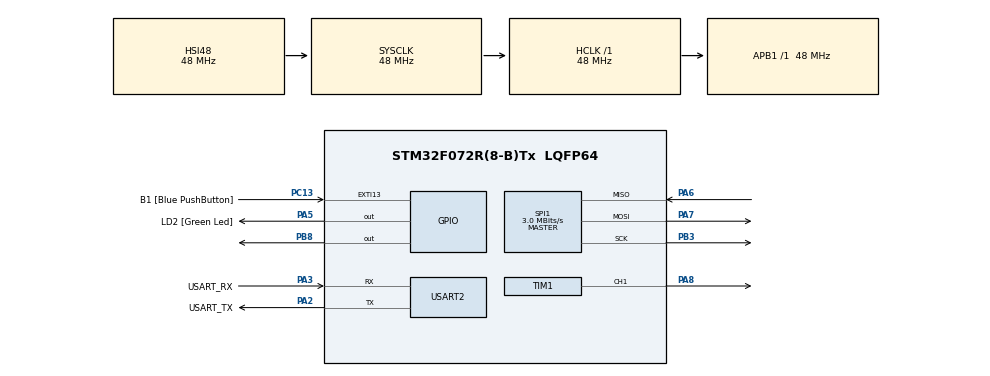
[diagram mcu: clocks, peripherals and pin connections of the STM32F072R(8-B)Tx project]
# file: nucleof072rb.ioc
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Mcu.Family=STM32F0
Mcu.Name=STM32F072R(8-B)Tx
Mcu.Package=LQFP64
PA13.GPIO_Label=TMS
PA13.Mode=Serial_Wire
PA13.Signal=SYS_SWDIO
PA14.GPIO_Label=TCK
PA14.Mode=Serial_Wire
PA14.Signal=SYS_SWCLK
PA2.GPIO_Label=USART_TX
PA2.GPIO_Mode=GPIO_MODE_AF_PP
PA2.GPIO_PuPd=GPIO_NOPULL
PA2.GPIO_Speed=GPIO_SPEED_FREQ_LOW
PA2.Mode=Asynchronous
PA2.Signal=USART2_TX
PA3.GPIO_Label=USART_RX
PA3.GPIO_Mode=GPIO_MODE_AF_PP
PA3.GPIO_PuPd=GPIO_NOPULL
PA3.GPIO_Speed=GPIO_SPEED_FREQ_LOW
PA3.Mode=Asynchronous
PA3.Signal=USART2_RX
PA5.GPIO_Label=LD2 [Green Led]
PA5.GPIO_Mode=GPIO_MODE_OUTPUT_PP
PA5.GPIO_PuPd=GPIO_NOPULL
PA5.GPIO_Speed=GPIO_SPEED_FREQ_LOW
PA5.Signal=GPIO_Output
PA6.Mode=Full_Duplex_Master
PA6.Signal=SPI1_MISO
PA7.Mode=Full_Duplex_Master
PA7.Signal=SPI1_MOSI
PA8.Signal=S_TIM1_CH1
PB3.Mode=Full_Duplex_Master
PB3.Signal=SPI1_SCK
PB8.Signal=GPIO_Output
PC13.GPIO_Label=B1 [Blue PushButton]
PC13.GPIO_ModeDefaultEXTI=GPIO_MODE_IT_FALLING
PC13.Signal=GPXTI13
PC14-OSC32_IN.Mode=LSE-External-Oscillator
PC14-OSC32_IN.Signal=RCC_OSC32_IN
PC15-OSC32_OUT.Mode=LSE-External-Oscillator
PC15-OSC32_OUT.Signal=RCC_OSC32_OUT
PF0-OSC_IN.Mode=HSE-External-Clock-Source
PF0-OSC_IN.Signal=RCC_OSC_IN
PF1-OSC_OUT.Signal=RCC_OSC_OUT
ProjectManager.HeapSize=0x200
ProjectManager.StackSize=0x400
ProjectManager.TargetToolchain=STM32CubeIDE
RCC.AHBFreq_Value=48000000
RCC.APB1Freq_Value=48000000
RCC.APB1TimFreq_Value=48000000
RCC.FLatency-AdvancedSettings=FLASH_LATENCY_1
RCC.HCLKFreq_Value=48000000
RCC.PLLDivider=RCC_PREDIV_DIV2
RCC.PLLMUL=RCC_PLL_MUL12
RCC.PREFETCH_ENABLE-AdvancedSettings=1
RCC.SYSCLKFreq_VALUE=48000000
RCC.SYSCLKSource=RCC_SYSCLKSOURCE_HSI48
SH.S_TIM1_CH1.0=TIM1_CH1,PWM Generation1 CH1
SPI1.BaudRatePrescaler=SPI_BAUDRATEPRESCALER_16
SPI1.CalculateBaudRate=3.0 MBits/s
SPI1.DataSize=SPI_DATASIZE_8BIT
SPI1.Direction=SPI_DIRECTION_2LINES
SPI1.FirstBit=SPI_FIRSTBIT_MSB
SPI1.Mode=SPI_MODE_MASTER
SPI1.VirtualType=VM_MASTER
TIM1.AutoReloadPreload=TIM_AUTORELOAD_PRELOAD_DISABLE
TIM1.Channel-PWM\ Generation1\ CH1=TIM_CHANNEL_1
TIM1.Period=63999
TIM1.Prescaler=15
USART2.VirtualMode=VM_ASYNC
USART2.VirtualMode-Asynchronous=VM_ASYNC
VP_TIM1_VS_ClockSourceINT.Mode=Internal
board=NUCLEO-F072RB

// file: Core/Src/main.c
/* USER CODE BEGIN Header */
/**
  ******************************************************************************
  * @file           : main.c
  * @brief          : Main program body
  ******************************************************************************
  * @attention
  *
  * <h2><center>&copy; Copyright (c) 2021 STMicroelectronics.
  * All rights reserved.</center></h2>
  *
  * This software component is licensed by ST under BSD 3-Clause license,
  * the "License"; You may not use this file except in compliance with the
  * License. You may obtain a copy of the License at:
  *                        opensource.org/licenses/BSD-3-Clause
  *
  ******************************************************************************
  */
/* USER CODE END Header */
#include "main.h"
#include "spi.h"
#include "tim.h"
#include "usart.h"
#include "gpio.h"

/* USER CODE BEGIN PV */
uint8_t adc_tx_data[3] = {0b00000001, 0b10000000, 0b00000000};
uint8_t adc_rx_data[3] = {};
uint32_t adc_value = 0;
uint32_t pwm_count = 0;
uint32_t period = 0;
uint32_t offset = 0;
uint32_t range = 0;
/* USER CODE END PV */

void SystemClock_Config(void);

int main(void)
{

  /* MCU Configuration--------------------------------------------------------*/

  /* Reset of all peripherals, Initializes the Flash interface and the Systick. */
  HAL_Init();

  /* Configure the system clock */
  SystemClock_Config();

  /* Initialize all configured peripherals */
  MX_GPIO_Init();
  MX_USART2_UART_Init();
  MX_SPI1_Init();
  MX_TIM1_Init();
  /* USER CODE BEGIN 2 */
  period = htim1.Init.Period + 1;
  offset = period * 0.05;
  range = period * (0.1 - 0.05);

  HAL_TIM_PWM_Start(&htim1, TIM_CHANNEL_1);
  /* USER CODE END 2 */

  /* Infinite loop */
  /* USER CODE BEGIN WHILE */
  while (1)
  {
    HAL_GPIO_WritePin(GPIOB, GPIO_PIN_6, GPIO_PIN_RESET);

    HAL_SPI_TransmitReceive(&hspi1, adc_tx_data, adc_rx_data, 3, 100);

    HAL_GPIO_WritePin(GPIOB, GPIO_PIN_6, GPIO_PIN_SET);

    adc_value = (adc_rx_data[1] << 8) | adc_rx_data[2];
    pwm_count = offset + (adc_value * range / 1024);

    __HAL_TIM_SET_COMPARE(&htim1, TIM_CHANNEL_1, pwm_count);
    /* USER CODE END WHILE */

    /* USER CODE BEGIN 3 */
    HAL_Delay(10);
  }
  /* USER CODE END 3 */
}

void SystemClock_Config(void)
{
  RCC_OscInitTypeDef RCC_OscInitStruct = {0};
  RCC_ClkInitTypeDef RCC_ClkInitStruct = {0};
  RCC_PeriphCLKInitTypeDef PeriphClkInit = {0};

  /** Initializes the RCC Oscillators according to the specified parameters
  * in the RCC_OscInitTypeDef structure.
  */
  RCC_OscInitStruct.OscillatorType = RCC_OSCILLATORTYPE_HSI48;
  RCC_OscInitStruct.HSI48State = RCC_HSI48_ON;
  RCC_OscInitStruct.PLL.PLLState = RCC_PLL_NONE;
  if (HAL_RCC_OscConfig(&RCC_OscInitStruct) != HAL_OK)
  {
    Error_Handler();
  }
  /** Initializes the CPU, AHB and APB buses clocks
  */
  RCC_ClkInitStruct.ClockType = RCC_CLOCKTYPE_HCLK|RCC_CLOCKTYPE_SYSCLK
                              |RCC_CLOCKTYPE_PCLK1;
  RCC_ClkInitStruct.SYSCLKSource = RCC_SYSCLKSOURCE_HSI48;
  RCC_ClkInitStruct.AHBCLKDivider = RCC_SYSCLK_DIV1;
  RCC_ClkInitStruct.APB1CLKDivider = RCC_HCLK_DIV1;

  if (HAL_RCC_ClockConfig(&RCC_ClkInitStruct, FLASH_LATENCY_1) != HAL_OK)
  {
    Error_Handler();
  }
  PeriphClkInit.PeriphClockSelection = RCC_PERIPHCLK_USART2;
  PeriphClkInit.Usart2ClockSelection = RCC_USART2CLKSOURCE_PCLK1;
  if (HAL_RCCEx_PeriphCLKConfig(&PeriphClkInit) != HAL_OK)
  {
    Error_Handler();
  }
}

void Error_Handler(void)
{
  __disable_irq();
  while (1)
  {
  }
}

/************************ (C) COPYRIGHT STMicroelectronics *****END OF FILE****/
